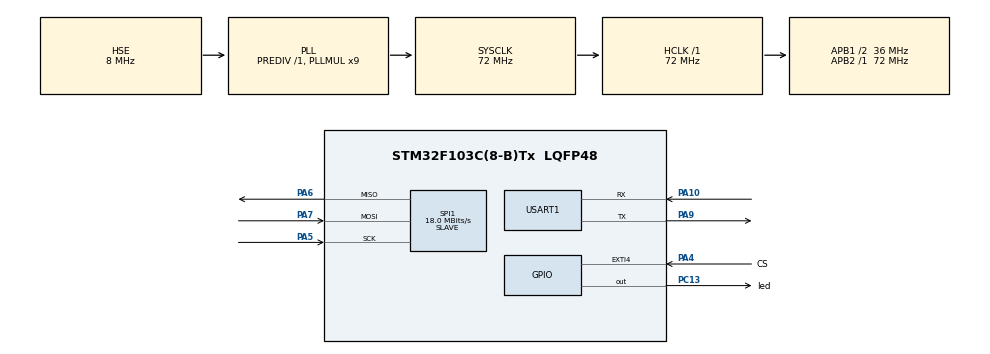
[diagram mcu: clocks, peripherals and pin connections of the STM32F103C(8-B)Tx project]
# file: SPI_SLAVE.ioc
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Mcu.Family=STM32F1
Mcu.Name=STM32F103C(8-B)Tx
Mcu.Package=LQFP48
NVIC.EXTI4_IRQn=true\:0\:0\:false\:false\:true\:true\:true
NVIC.PriorityGroup=NVIC_PRIORITYGROUP_4
PA10.Mode=Asynchronous
PA10.Signal=USART1_RX
PA13.Mode=Serial_Wire
PA13.Signal=SYS_JTMS-SWDIO
PA14.Mode=Serial_Wire
PA14.Signal=SYS_JTCK-SWCLK
PA4.GPIO_Label=CS
PA4.GPIO_ModeDefaultEXTI=GPIO_MODE_IT_FALLING
PA4.Signal=GPXTI4
PA5.Mode=Full_Duplex_Slave
PA5.Signal=SPI1_SCK
PA6.Mode=Full_Duplex_Slave
PA6.Signal=SPI1_MISO
PA7.Mode=Full_Duplex_Slave
PA7.Signal=SPI1_MOSI
PA9.Mode=Asynchronous
PA9.Signal=USART1_TX
PC13-TAMPER-RTC.GPIO_Label=led
PC13-TAMPER-RTC.Signal=GPIO_Output
PD0-OSC_IN.Mode=HSE-External-Oscillator
PD0-OSC_IN.Signal=RCC_OSC_IN
PD1-OSC_OUT.Mode=HSE-External-Oscillator
PD1-OSC_OUT.Signal=RCC_OSC_OUT
ProjectManager.HeapSize=0x200
ProjectManager.StackSize=0x400
ProjectManager.TargetToolchain=STM32CubeIDE
RCC.AHBFreq_Value=72000000
RCC.APB1CLKDivider=RCC_HCLK_DIV2
RCC.APB1Freq_Value=36000000
RCC.APB1TimFreq_Value=72000000
RCC.APB2Freq_Value=72000000
RCC.APB2TimFreq_Value=72000000
RCC.HCLKFreq_Value=72000000
RCC.PLLMUL=RCC_PLL_MUL9
RCC.PLLSourceVirtual=RCC_PLLSOURCE_HSE
RCC.SYSCLKFreq_VALUE=72000000
RCC.SYSCLKSource=RCC_SYSCLKSOURCE_PLLCLK
RCC.USBFreq_Value=72000000
SPI1.BaudRatePrescaler=SPI_BAUDRATEPRESCALER_4
SPI1.CalculateBaudRate=18.0 MBits/s
SPI1.Direction=SPI_DIRECTION_2LINES
SPI1.Mode=SPI_MODE_SLAVE
SPI1.VirtualType=VM_SLAVE
USART1.VirtualMode=VM_ASYNC
board=custom

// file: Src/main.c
/* USER CODE BEGIN Header */
/**
  ******************************************************************************
  * @file           : main.c
  * @brief          : Main program body
  ******************************************************************************
  * @attention
  *
  * <h2><center>&copy; Copyright (c) 2020 STMicroelectronics.
  * All rights reserved.</center></h2>
  *
  * This software component is licensed by ST under BSD 3-Clause license,
  * the "License"; You may not use this file except in compliance with the
  * License. You may obtain a copy of the License at:
  *                        opensource.org/licenses/BSD-3-Clause
  *
  ******************************************************************************
  */
/* USER CODE END Header */
#include "main.h"

SPI_HandleTypeDef hspi1;

UART_HandleTypeDef huart1;

/* USER CODE BEGIN PV */
int flag;
/* USER CODE END PV */

void SystemClock_Config(void);
static void MX_GPIO_Init(void);
static void MX_SPI1_Init(void);
static void MX_USART1_UART_Init(void);

int main(void)
{

  /* MCU Configuration--------------------------------------------------------*/

  /* Reset of all peripherals, Initializes the Flash interface and the Systick. */
  HAL_Init();

  /* Configure the system clock */
  SystemClock_Config();

  /* Initialize all configured peripherals */
  MX_GPIO_Init();
  MX_SPI1_Init();
  MX_USART1_UART_Init();
  /* USER CODE BEGIN 2 */

  uint8_t spiRecBuf[10];

  uint8_t test_CS;

  uint8_t dataSPI[1];

  int test;

  flag = 0;
  /* USER CODE END 2 */

  /* Infinite loop */
  while (1)
  {

    /* USER CODE BEGIN 3 */
//	  test_CS = HAL_GPIO_ReadPin(CS_GPIO_Port, CS_Pin);
	  if(flag == 1)
	  {
		  flag = 0;
		  HAL_GPIO_TogglePin(led_GPIO_Port, led_Pin);
		  HAL_SPI_Receive(&hspi1, dataSPI, 1, 50);
		  test = 9;

		  if(dataSPI[0] == 'v')
		  {
			  dataSPI[0] = 'k';
			  HAL_SPI_Transmit(&hspi1, dataSPI, 1, 100);
		  }

		  dataSPI[0] = 0;

	  }

//	  HAL_Delay(500);
  }
  /* USER CODE END 3 */
}

void SystemClock_Config(void)
{
  RCC_OscInitTypeDef RCC_OscInitStruct = {0};
  RCC_ClkInitTypeDef RCC_ClkInitStruct = {0};

  /** Initializes the RCC Oscillators according to the specified parameters
  * in the RCC_OscInitTypeDef structure.
  */
  RCC_OscInitStruct.OscillatorType = RCC_OSCILLATORTYPE_HSE;
  RCC_OscInitStruct.HSEState = RCC_HSE_ON;
  RCC_OscInitStruct.HSEPredivValue = RCC_HSE_PREDIV_DIV1;
  RCC_OscInitStruct.HSIState = RCC_HSI_ON;
  RCC_OscInitStruct.PLL.PLLState = RCC_PLL_ON;
  RCC_OscInitStruct.PLL.PLLSource = RCC_PLLSOURCE_HSE;
  RCC_OscInitStruct.PLL.PLLMUL = RCC_PLL_MUL9;
  if (HAL_RCC_OscConfig(&RCC_OscInitStruct) != HAL_OK)
  {
    Error_Handler();
  }
  /** Initializes the CPU, AHB and APB buses clocks
  */
  RCC_ClkInitStruct.ClockType = RCC_CLOCKTYPE_HCLK|RCC_CLOCKTYPE_SYSCLK
                              |RCC_CLOCKTYPE_PCLK1|RCC_CLOCKTYPE_PCLK2;
  RCC_ClkInitStruct.SYSCLKSource = RCC_SYSCLKSOURCE_PLLCLK;
  RCC_ClkInitStruct.AHBCLKDivider = RCC_SYSCLK_DIV1;
  RCC_ClkInitStruct.APB1CLKDivider = RCC_HCLK_DIV2;
  RCC_ClkInitStruct.APB2CLKDivider = RCC_HCLK_DIV1;

  if (HAL_RCC_ClockConfig(&RCC_ClkInitStruct, FLASH_LATENCY_2) != HAL_OK)
  {
    Error_Handler();
  }
}

static void MX_SPI1_Init(void)
{

  /* SPI1 parameter configuration*/
  hspi1.Instance = SPI1;
  hspi1.Init.Mode = SPI_MODE_SLAVE;
  hspi1.Init.Direction = SPI_DIRECTION_2LINES;
  hspi1.Init.DataSize = SPI_DATASIZE_8BIT;
  hspi1.Init.CLKPolarity = SPI_POLARITY_LOW;
  hspi1.Init.CLKPhase = SPI_PHASE_1EDGE;
  hspi1.Init.NSS = SPI_NSS_SOFT;
  hspi1.Init.BaudRatePrescaler = SPI_BAUDRATEPRESCALER_4;
  hspi1.Init.FirstBit = SPI_FIRSTBIT_MSB;
  hspi1.Init.TIMode = SPI_TIMODE_DISABLE;
  hspi1.Init.CRCCalculation = SPI_CRCCALCULATION_DISABLE;
  hspi1.Init.CRCPolynomial = 10;
  if (HAL_SPI_Init(&hspi1) != HAL_OK)
  {
    Error_Handler();
  }

}

static void MX_USART1_UART_Init(void)
{

  huart1.Instance = USART1;
  huart1.Init.BaudRate = 115200;
  huart1.Init.WordLength = UART_WORDLENGTH_8B;
  huart1.Init.StopBits = UART_STOPBITS_1;
  huart1.Init.Parity = UART_PARITY_NONE;
  huart1.Init.Mode = UART_MODE_TX_RX;
  huart1.Init.HwFlowCtl = UART_HWCONTROL_NONE;
  huart1.Init.OverSampling = UART_OVERSAMPLING_16;
  if (HAL_UART_Init(&huart1) != HAL_OK)
  {
    Error_Handler();
  }

}

static void MX_GPIO_Init(void)
{
  GPIO_InitTypeDef GPIO_InitStruct = {0};

  /* GPIO Ports Clock Enable */
  __HAL_RCC_GPIOC_CLK_ENABLE();
  __HAL_RCC_GPIOD_CLK_ENABLE();
  __HAL_RCC_GPIOA_CLK_ENABLE();

  /*Configure GPIO pin Output Level */
  HAL_GPIO_WritePin(led_GPIO_Port, led_Pin, GPIO_PIN_RESET);

  /*Configure GPIO pin : led_Pin */
  GPIO_InitStruct.Pin = led_Pin;
  GPIO_InitStruct.Mode = GPIO_MODE_OUTPUT_PP;
  GPIO_InitStruct.Pull = GPIO_NOPULL;
  GPIO_InitStruct.Speed = GPIO_SPEED_FREQ_LOW;
  HAL_GPIO_Init(led_GPIO_Port, &GPIO_InitStruct);

  /*Configure GPIO pin : CS_Pin */
  GPIO_InitStruct.Pin = CS_Pin;
  GPIO_InitStruct.Mode = GPIO_MODE_IT_FALLING;
  GPIO_InitStruct.Pull = GPIO_NOPULL;
  HAL_GPIO_Init(CS_GPIO_Port, &GPIO_InitStruct);

  /* EXTI interrupt init*/
  HAL_NVIC_SetPriority(EXTI4_IRQn, 0, 0);
  HAL_NVIC_EnableIRQ(EXTI4_IRQn);

}

void Error_Handler(void)
{
}

/************************ (C) COPYRIGHT STMicroelectronics *****END OF FILE****/
